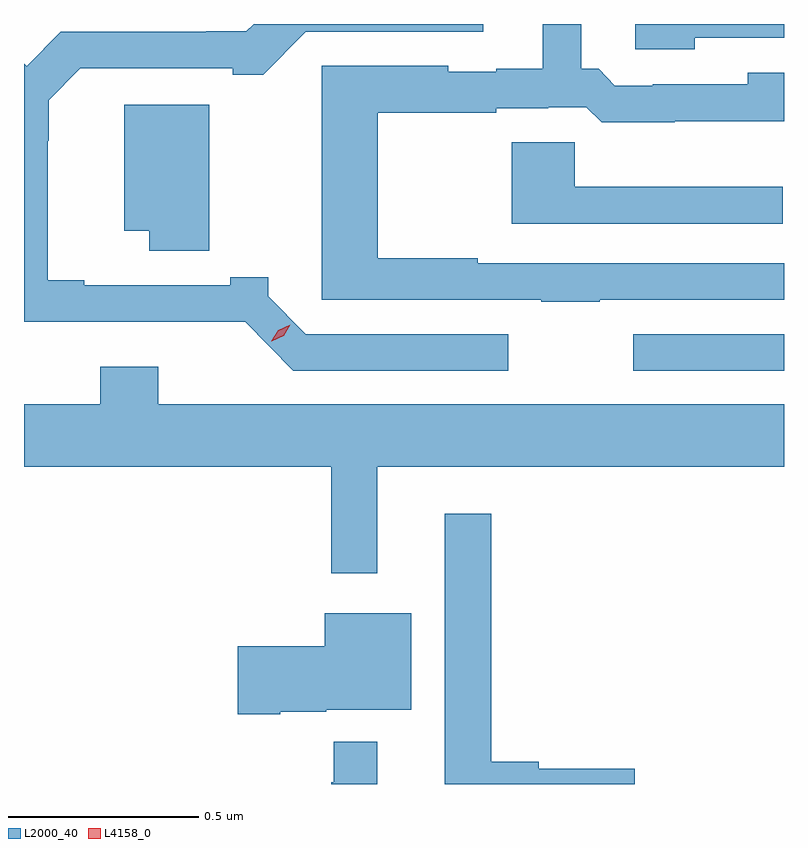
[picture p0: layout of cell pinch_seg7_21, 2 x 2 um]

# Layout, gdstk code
import gdstk
lib = gdstk.Library(unit=1e-6, precision=1e-09)
def R(c, l, rs):  # rectangles x0, y0, x1, y1
    for r in rs: c.add(gdstk.rectangle(r[:2], r[2:], *l))
def P(c, l, *ps):  # polygons
    for p in ps: c.add(gdstk.Polygon(p, *l))
L2000_40 = (2000, 40)
L4158_0 = (4158, 0)

pinch_seg7_21 = lib.new_cell('pinch_seg7_21')
R(pinch_seg7_21, L2000_40, [(1021.317,1048.821,1021.714,1048.917)])
P(pinch_seg7_21, L2000_40, [(1021.229,1049.007),(1021.714,1049.007),(1021.714,1049.103),(1020.908,1049.103),(1020.908,1049.116),(1020.645,1049.116),(1020.645,1049.499),(1020.957,1049.499),(1020.957,1049.511),(1021.094,1049.511),(1021.094,1049.514),(1021.194,1049.514),(1021.234,1049.475),(1021.427,1049.475),(1021.427,1049.477),(1021.714,1049.477),(1021.714,1049.605),(1021.618,1049.605),(1021.618,1049.574),(1021.369,1049.574),(1021.369,1049.571),(1021.269,1049.571),(1021.226,1049.615),(1021.18,1049.615),(1021.18,1049.733),(1021.079,1049.733),(1021.079,1049.615),(1020.957,1049.615),(1020.957,1049.607),(1020.831,1049.607),(1020.831,1049.623),(1020.497,1049.623),(1020.497,1049.007),(1021.075,1049.007),(1021.075,1049.002),(1021.229,1049.002)],
  [(1020.988,1048.917),(1020.456,1048.917),(1020.357,1049.016),(1020.357,1049.066),(1020.257,1049.066),(1020.257,1049.046),(1019.872,1049.046),(1019.872,1049.059),(1019.776,1049.059),(1019.776,1049.426),(1019.779,1049.426),(1019.779,1049.533),(1019.862,1049.616),(1020.263,1049.616),(1020.263,1049.6),(1020.344,1049.6),(1020.456,1049.712),(1020.922,1049.712),(1020.922,1049.733),(1020.318,1049.733),(1020.299,1049.714),(1020.194,1049.714),(1020.194,1049.712),(1019.811,1049.712),(1019.721,1049.622),(1019.714,1049.629),(1019.714,1048.95),(1020.191,1048.95),(1020.191,1048.949),(1020.296,1048.949),(1020.423,1048.821),(1020.988,1048.821)],
  [(1021.479,1049.697),(1021.714,1049.697),(1021.714,1049.733),(1021.323,1049.733),(1021.323,1049.666),(1021.479,1049.666)],
  [(1020.202,1049.521),(1019.978,1049.521),(1019.978,1049.189),(1020.044,1049.189),(1020.044,1049.136),(1020.202,1049.136)],
  [(1021.711,1049.305),(1021.163,1049.305),(1021.163,1049.422),(1020.997,1049.422),(1020.997,1049.208),(1021.711,1049.208)],
  [(1020.643,1048.568),(1021.714,1048.568),(1021.714,1048.732),(1020.067,1048.732),(1020.067,1048.831),(1019.915,1048.831),(1019.915,1048.732),(1019.714,1048.732),(1019.714,1048.568),(1020.522,1048.568),(1020.522,1048.287),(1020.643,1048.287)],
  [(1021.321,1047.773),(1021.068,1047.773),(1021.068,1047.791),(1020.943,1047.791),(1020.943,1048.444),(1020.821,1048.444),(1020.821,1047.733),(1021.321,1047.733)],
  [(1020.388,1047.923),(1020.51,1047.923),(1020.51,1047.929),(1020.733,1047.929),(1020.733,1048.183),(1020.506,1048.183),(1020.506,1048.095),(1020.276,1048.095),(1020.276,1047.917),(1020.388,1047.917)],
  [(1020.643,1047.844),(1020.529,1047.844),(1020.529,1047.737),(1020.522,1047.737),(1020.522,1047.733),(1020.643,1047.733)])
P(pinch_seg7_21, L4158_0, [(1020.365,1048.898),(1020.365,1048.898),(1020.383,1048.927),(1020.415,1048.942),(1020.415,1048.942),(1020.415,1048.942),(1020.397,1048.913),(1020.366,1048.898)])

lib.write_gds('pinch_seg7_21.gds')
